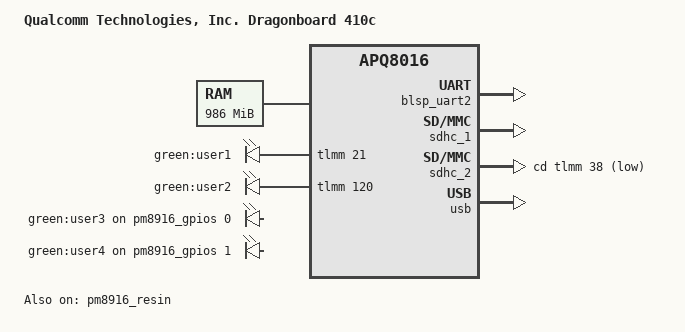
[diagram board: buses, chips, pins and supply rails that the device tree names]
// SPDX-License-Identifier: GPL-2.0+
/*
 * Qualcomm APQ8016 based Dragonboard 410C board device tree source
 *
 * (C) Copyright 2015 Mateusz Kulikowski <mateusz.kulikowski@gmail.com>
 */

/dts-v1/;

#include <dt-bindings/gpio/gpio.h>

#include "msm8916.dtsi"
#include "pm8916.dtsi"

/ {
	model = "Qualcomm Technologies, Inc. Dragonboard 410c";
	compatible = "qcom,apq8016-sbc", "qcom,apq8016";
	qcom,msm-id = <0xce 0x0 0xf8 0x0 0xf9 0x0 0xfa 0x0 0xf7 0x0>;
	qcom,board-id = <0x10018 0x0>;

	aliases {
		usb0 = "/soc/ehci@78d9000";
		serial0 = &blsp_uart2;
	};

	memory@80000000 {
		device_type = "memory";
		reg = <0 0x80000000 0 0x3da00000>;
	};

	chosen {
		stdout-path = "/soc/serial@78b0000";
	};

	leds {
		compatible = "gpio-leds";
		user1 {
			label = "green:user1";
			gpios = <&tlmm 21 0>;
		};

		user2 {
			label = "green:user2";
			gpios = <&tlmm 120 0>;
		};

		user3 {
			label = "green:user3";
			gpios = <&pm8916_gpios 0 0>;
		};

		user4 {
			label = "green:user4";
			gpios = <&pm8916_gpios 1 0>;
		};
	};
};

&blsp_uart2 {
	status = "okay";
};

&pm8916_gpios {
	usb_hub_reset_pm {
		gpios = <&pm8916_gpios 2 0>;
	};

	usb_sw_sel_pm {
		gpios = <&pm8916_gpios 3 0>;
	};
};

&pm8916_resin {
	status = "okay";
};

&sdhc_1 {
	status = "okay";
	clock-frequency = <100000000>;
};

&sdhc_2 {
	status = "okay";
	cd-gpios = <&tlmm 38 GPIO_ACTIVE_LOW>;
	clock-frequency = <200000000>;
};

&usb {
	status = "okay";
};
